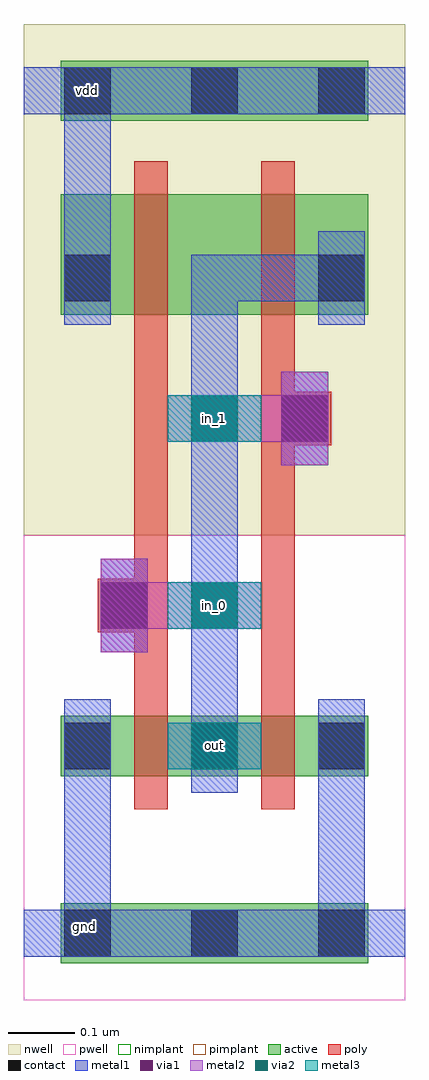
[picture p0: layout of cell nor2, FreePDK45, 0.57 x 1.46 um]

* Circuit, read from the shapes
.subckt nor2 gnd in_0 in_1 out vdd
M1 out in_0 gnd gnd nfet w=0.09u l=0.05u
M2 gnd in_1 out gnd nfet w=0.09u l=0.05u
M3 n1 in_0 vdd vdd pfet w=0.18u l=0.05u
M4 out in_1 n1 vdd pfet w=0.18u l=0.05u
.ends

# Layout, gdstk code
import gdstk
lib = gdstk.Library(unit=1e-6, precision=5e-10)
def R(c, l, rs):  # rectangles x0, y0, x1, y1
    for r in rs: c.add(gdstk.rectangle(r[:2], r[2:], *l))
def A(c, l, x, y, w, h, nx, ny, dx, dy):  # array of equal rectangles
    R(c, l, [(x+i*dx, y+j*dy, x+i*dx+w, y+j*dy+h) for i in range(nx) for j in range(ny)])
active = (1, 0)
pwell = (2, 0)
nwell = (3, 0)
nimplant = (4, 0)
pimplant = (5, 0)
poly = (9, 0)
contact = (10, 0)
metal1 = (11, 0)
via1 = (12, 0)
metal2 = (13, 0)
via2 = (14, 0)
metal3 = (15, 0)

nor2 = lib.new_cell('nor2')
R(nor2, active, [(0.055,-0.045,0.515,0.045), (0.055,0.235,0.515,0.325), (0.055,0.925,0.515,1.105), (0.055,1.215,0.515,1.305)])
R(nor2, pwell, [(0,-0.1,0.57,0.595)])
R(nor2, nwell, [(0,0.595,0.57,1.36)])
R(nor2, nimplant, [(0.055,0.235,0.515,0.325), (0.055,1.215,0.515,1.305)])
R(nor2, pimplant, [(0.055,-0.045,0.515,0.045), (0.055,0.925,0.515,1.105)])
R(nor2, poly, [(0.165,0.185,0.215,1.155), (0.355,0.185,0.405,1.155), (0.11,0.45,0.165,0.53), (0.405,0.73,0.46,0.81)])
A(nor2, contact, 0.06, -0.035, 0.07, 0.07, 3, 2, 0.19, 0.28)
A(nor2, contact, 0.06, 1.225, 0.07, 0.07, 3, 1, 0.19, 0)
R(nor2, contact, [(0.115,0.455,0.185,0.525), (0.385,0.735,0.455,0.805), (0.06,0.945,0.13,1.015), (0.44,0.945,0.51,1.015)])
R(nor2, metal1, [(0,-0.035,0.57,0.035), (0.06,0.035,0.13,0.35), (0.44,0.035,0.51,0.35), (0.25,0.21,0.32,1.015), (0.115,0.42,0.185,0.56), (0.385,0.7,0.455,0.84), (0.06,0.91,0.13,1.225), (0.44,0.91,0.51,1.05), (0.32,0.945,0.44,1.015), (0,1.225,0.57,1.295)])
R(nor2, via1, [(0.25,0.245,0.32,0.315), (0.115,0.455,0.185,0.525), (0.385,0.735,0.455,0.805)])
R(nor2, metal2, [(0.215,0.245,0.355,0.315), (0.115,0.42,0.185,0.56), (0.185,0.455,0.355,0.525), (0.385,0.7,0.455,0.84), (0.215,0.735,0.385,0.805)])
R(nor2, via2, [(0.25,0.245,0.32,0.315), (0.25,0.455,0.32,0.525), (0.25,0.735,0.32,0.805)])
R(nor2, metal3, [(0.215,0.245,0.355,0.315), (0.215,0.455,0.355,0.525), (0.215,0.735,0.355,0.805)])
nor2.add(gdstk.Label('vdd', (0.095,1.26), layer=11, texttype=0))
nor2.add(gdstk.Label('gnd', (0.09,0.01), layer=11, texttype=0))
nor2.add(gdstk.Label('in_1', (0.285,0.77), layer=15, texttype=0))
nor2.add(gdstk.Label('in_0', (0.285,0.49), layer=15, texttype=0))
nor2.add(gdstk.Label('out', (0.285,0.28), layer=15, texttype=0))

lib.write_gds('nor2.gds')
